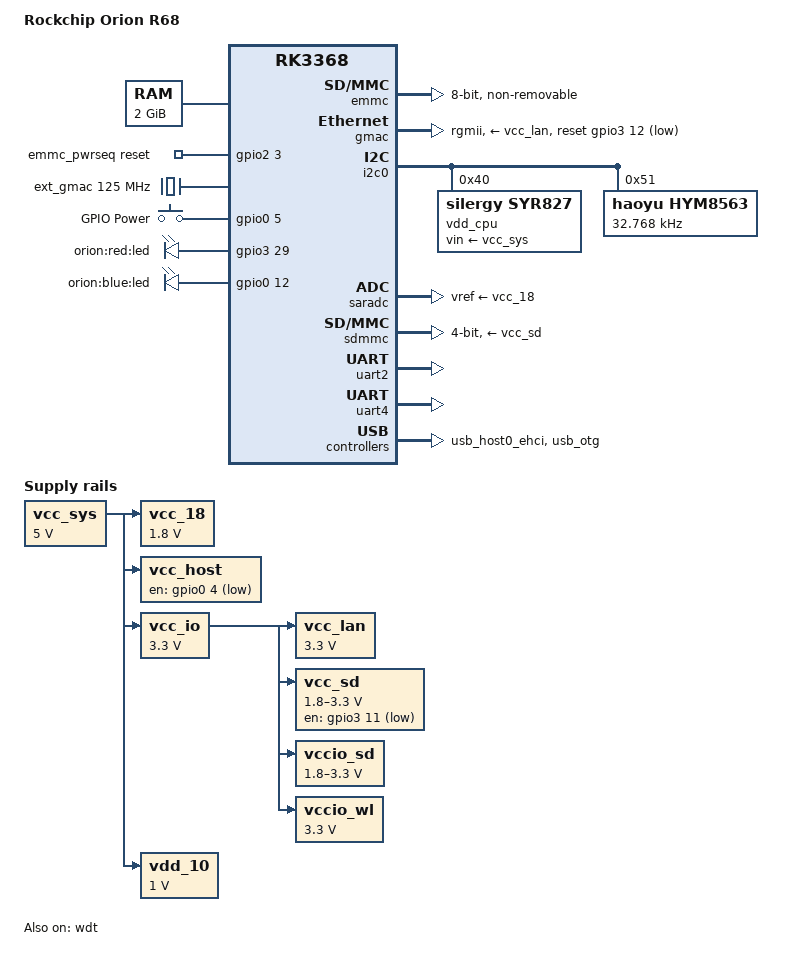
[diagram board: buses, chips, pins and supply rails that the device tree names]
/*
 * Copyright (c) 2016 Matthias Brugger <mbrugger@suse.com>
 *
 * This file is dual-licensed: you can use it either under the terms
 * of the GPL or the X11 license, at your option. Note that this dual
 * licensing only applies to this file, and not this project as a
 * whole.
 *
 *  a) This file is free software; you can redistribute it and/or
 *     modify it under the terms of the GNU General Public License as
 *     published by the Free Software Foundation; either version 2 of the
 *     License, or (at your option) any later version.
 *
 *     This file is distributed in the hope that it will be useful,
 *     but WITHOUT ANY WARRANTY; without even the implied warranty of
 *     MERCHANTABILITY or FITNESS FOR A PARTICULAR PURPOSE.  See the
 *     GNU General Public License for more details.
 *
 * Or, alternatively,
 *
 *  b) Permission is hereby granted, free of charge, to any person
 *     obtaining a copy of this software and associated documentation
 *     files (the "Software"), to deal in the Software without
 *     restriction, including without limitation the rights to use,
 *     copy, modify, merge, publish, distribute, sublicense, and/or
 *     sell copies of the Software, and to permit persons to whom the
 *     Software is furnished to do so, subject to the following
 *     conditions:
 *
 *     The above copyright notice and this permission notice shall be
 *     included in all copies or substantial portions of the Software.
 *
 *     THE SOFTWARE IS PROVIDED "AS IS", WITHOUT WARRANTY OF ANY KIND,
 *     EXPRESS OR IMPLIED, INCLUDING BUT NOT LIMITED TO THE WARRANTIES
 *     OF MERCHANTABILITY, FITNESS FOR A PARTICULAR PURPOSE AND
 *     NONINFRINGEMENT. IN NO EVENT SHALL THE AUTHORS OR COPYRIGHT
 *     HOLDERS BE LIABLE FOR ANY CLAIM, DAMAGES OR OTHER LIABILITY,
 *     WHETHER IN AN ACTION OF CONTRACT, TORT OR OTHERWISE, ARISING
 *     FROM, OUT OF OR IN CONNECTION WITH THE SOFTWARE OR THE USE OR
 *     OTHER DEALINGS IN THE SOFTWARE.
 */

/dts-v1/;
#include <dt-bindings/input/input.h>
#include "rk3368.dtsi"

/ {
	model = "Rockchip Orion R68";
	compatible = "tronsmart,orion-r68-meta", "rockchip,rk3368";

	chosen {
		stdout-path = "serial2:115200n8";
	};

	memory {
		device_type = "memory";
		reg = <0x0 0x0 0x0 0x80000000>;
	};

	emmc_pwrseq: emmc-pwrseq {
		compatible = "mmc-pwrseq-emmc";
		pinctrl-0 = <&emmc_reset>;
		pinctrl-names = "default";
		reset-gpios = <&gpio2 3 GPIO_ACTIVE_HIGH>;
	};

	ext_gmac: external-gmac-clock {
		compatible = "fixed-clock";
		#clock-cells = <0>;
		clock-frequency = <125000000>;
		clock-output-names = "ext_gmac";
	};

	keys: gpio-keys {
		compatible = "gpio-keys";
		pinctrl-names = "default";
		pinctrl-0 = <&pwr_key>;

		power {
			wakeup-source;
			gpios = <&gpio0 5 GPIO_ACTIVE_HIGH>;
			label = "GPIO Power";
			linux,code = <KEY_POWER>;
		};
	};

	leds: gpio-leds {
		compatible = "gpio-leds";

		red {
			gpios = <&gpio3 29 GPIO_ACTIVE_HIGH>;
			label = "orion:red:led";
			pinctrl-names = "default";
			pinctrl-0 = <&led_ctl>;
			default-state = "on";
		};

		blue {
			gpios = <&gpio0 12 GPIO_ACTIVE_HIGH>;
			label = "orion:blue:led";
			pinctrl-names = "default";
			pinctrl-0 = <&stby_pwren>;
			default-state = "off";
		};
	};

	vcc_18: vcc18-regulator {
		compatible = "regulator-fixed";
		regulator-name = "vcc_18";
		regulator-min-microvolt = <1800000>;
		regulator-max-microvolt = <1800000>;
		regulator-always-on;
		regulator-boot-on;
		vin-supply = <&vcc_sys>;
	};

	/* supplies both host and otg */
	vcc_host: vcc-host-regulator {
		compatible = "regulator-fixed";
		gpio = <&gpio0 4 GPIO_ACTIVE_LOW>;
		pinctrl-names = "default";
		pinctrl-0 = <&host_vbus_drv>;
		regulator-name = "vcc_host";
		regulator-always-on;
		regulator-boot-on;
		vin-supply = <&vcc_sys>;
	};

	vcc_io: vcc-io-regulator {
		compatible = "regulator-fixed";
		regulator-name = "vcc_io";
		regulator-min-microvolt = <3300000>;
		regulator-max-microvolt = <3300000>;
		regulator-always-on;
		regulator-boot-on;
		vin-supply = <&vcc_sys>;
	};

	vcc_lan: vcc-lan-regulator {
		compatible = "regulator-fixed";
		regulator-name = "vcc_lan";
		regulator-min-microvolt = <3300000>;
		regulator-max-microvolt = <3300000>;
		regulator-always-on;
		regulator-boot-on;
		vin-supply = <&vcc_io>;
	};

	vcc_sd: vcc-sd-regulator {
		compatible = "regulator-fixed";
		regulator-name = "vcc_sd";
		gpio = <&gpio3 11 GPIO_ACTIVE_LOW>;
		regulator-min-microvolt = <1800000>;
		regulator-max-microvolt = <3300000>;
		vin-supply = <&vcc_io>;
	};

	vcc_sys: vcc-sys-regulator {
		compatible = "regulator-fixed";
		regulator-name = "vcc_sys";
		regulator-min-microvolt = <5000000>;
		regulator-max-microvolt = <5000000>;
		regulator-always-on;
		regulator-boot-on;
	};

	vccio_sd: vcc-io-sd-regulator {
		compatible = "regulator-fixed";
		regulator-name= "vccio_sd";
		regulator-min-microvolt = <1800000>;
		regulator-max-microvolt = <3300000>;
		regulator-always-on;
		regulator-boot-on;
		vin-supply = <&vcc_io>;
	};

	vccio_wl: vccio-wl-regulator {
		compatible = "regulator-fixed";
		regulator-name = "vccio_wl";
		regulator-min-microvolt = <3300000>;
		regulator-max-microvolt = <3300000>;
		regulator-always-on;
		regulator-boot-on;
		vin-supply = <&vcc_io>;
	};

	vdd_10: vdd-10-regulator {
		compatible = "regulator-fixed";
		regulator-name = "vdd_10";
		regulator-min-microvolt = <1000000>;
		regulator-max-microvolt = <1000000>;
		regulator-always-on;
		regulator-boot-on;
		vin-supply = <&vcc_sys>;
	};
};

&emmc {
	bus-width = <8>;
	cap-mmc-highspeed;
	disable-wp;
	mmc-pwrseq = <&emmc_pwrseq>;
	mmc-hs200-1_2v;
	mmc-hs200-1_8v;
	non-removable;
	num-slots = <1>;
	pinctrl-names = "default";
	pinctrl-0 = <&emmc_clk &emmc_cmd &emmc_bus8>;
	status = "okay";
};

&gmac {
	assigned-clocks = <&cru SCLK_MAC>;
	assigned-clock-parents = <&ext_gmac>;
	clock_in_out = "input";
	phy-supply = <&vcc_lan>;
	phy-mode = "rgmii";
	pinctrl-names = "default";
	pinctrl-0 = <&rgmii_pins>;
	snps,reset-gpio = <&gpio3 12 0>;
	snps,reset-active-low;
	snps,reset-delays-us = <0 10000 1000000>;
	tx_delay = <0x30>;
	rx_delay = <0x10>;
	status = "ok";
};

&i2c0 {
	status = "okay";

	vdd_cpu: syr827@40 {
		compatible = "silergy,syr827";
		reg = <0x40>;
		fcs,suspend-voltage-selector = <1>;
		regulator-name = "vdd_cpu";
		regulator-enable-ramp-delay = <300>;
		regulator-min-microvolt = <712500>;
		regulator-max-microvolt = <1500000>;
		regulator-ramp-delay = <8000>;
		regulator-always-on;
		regulator-boot-on;
		vin-supply = <&vcc_sys>;
	};

	hym8563: hym8563@51 {
		compatible = "haoyu,hym8563";
		reg = <0x51>;
		#clock-cells = <0>;
		clock-frequency = <32768>;
		clock-output-names = "xin32k";
		/* rtc_int is not connected */
	};
};

&pinctrl {
	pcfg_pull_none_drv_8ma: pcfg-pull-none-drv-8ma {
		bias-disable;
		drive-strength = <8>;
	};

	pcfg_pull_up_drv_8ma: pcfg-pull-up-drv-8ma {
		bias-pull-up;
		drive-strength = <8>;
	};

	emmc {
		emmc_bus8: emmc-bus8 {
			rockchip,pins = <1 18 RK_FUNC_2 &pcfg_pull_up_drv_8ma>,
					<1 19 RK_FUNC_2 &pcfg_pull_up_drv_8ma>,
					<1 20 RK_FUNC_2 &pcfg_pull_up_drv_8ma>,
					<1 21 RK_FUNC_2 &pcfg_pull_up_drv_8ma>,
					<1 22 RK_FUNC_2 &pcfg_pull_up_drv_8ma>,
					<1 23 RK_FUNC_2 &pcfg_pull_up_drv_8ma>,
					<1 24 RK_FUNC_2 &pcfg_pull_up_drv_8ma>,
					<1 25 RK_FUNC_2 &pcfg_pull_up_drv_8ma>;
		};

		emmc-clk {
			rockchip,pins = <2 4 RK_FUNC_2 &pcfg_pull_none_drv_8ma>;
		};

		emmc-cmd {
			rockchip,pins = <1 26 RK_FUNC_2 &pcfg_pull_up_drv_8ma>;
		};

		emmc_reset: emmc-reset {
			rockchip,pins = <2 3 RK_FUNC_GPIO &pcfg_pull_none>;
		};
	};

	keys {
		pwr_key: pwr-key {
			rockchip,pins = <0 5 RK_FUNC_GPIO &pcfg_pull_down>;
		};
	};

	leds {
		stby_pwren: stby-pwren {
			rockchip,pins = <0 12 RK_FUNC_GPIO &pcfg_pull_none>;
		};

		led_ctl: led-ctl {
			rockchip,pins = <3 29 RK_FUNC_GPIO &pcfg_pull_none>;
		};
	};

	sdmmc {
		sdmmc_clk: sdmmc-clk {
			rockchip,pins = <2 9 RK_FUNC_1 &pcfg_pull_none_drv_8ma>;
		};

		sdmmc_cmd: sdmmc-cmd {
			rockchip,pins = <2 10 RK_FUNC_1 &pcfg_pull_up_drv_8ma>;
		};

		sdmmc_cd: sdmmc-cd {
			rockchip,pins = <2 11 RK_FUNC_1 &pcfg_pull_up_drv_8ma>;
		};

		sdmmc_bus1: sdmmc-bus1 {
			rockchip,pins = <2 5 RK_FUNC_1 &pcfg_pull_up_drv_8ma>;
		};

		sdmmc_bus4: sdmmc-bus4 {
			rockchip,pins = <2 5 RK_FUNC_1 &pcfg_pull_up_drv_8ma>,
					<2 6 RK_FUNC_1 &pcfg_pull_up_drv_8ma>,
					<2 7 RK_FUNC_1 &pcfg_pull_up_drv_8ma>,
					<2 8 RK_FUNC_1 &pcfg_pull_up_drv_8ma>;
		};
	};

	usb {
		host_vbus_drv: host-vbus-drv {
			rockchip,pins = <0 4 RK_FUNC_GPIO &pcfg_pull_none>;
		};
	};
};

&saradc {
	vref-supply = <&vcc_18>;
	status = "okay";
};

&sdmmc {
	bus-width = <4>;
	clock-frequency = <50000000>;
	clock-freq-min-max = <400000 50000000>;
	cap-sd-highspeed;
	card-detect-delay = <200>;
	num-slots = <1>;
	pinctrl-names = "default";
	pinctrl-0 = <&sdmmc_clk &sdmmc_cmd &sdmmc_cd &sdmmc_bus4>;
	vmmc-supply = <&vcc_sd>;
	vqmmc-supply = <&vccio_sd>;
	status = "okay";
};

&uart2 {
	status = "okay";
};

&uart4 {
	pinctrl-names = "default";
	pinctrl-0 = <&uart4_xfer>;
	status = "okay";
};

&usb_host0_ehci {
	status = "okay";
};

&usb_otg {
	status = "okay";
};

&wdt {
	status = "okay";
};
